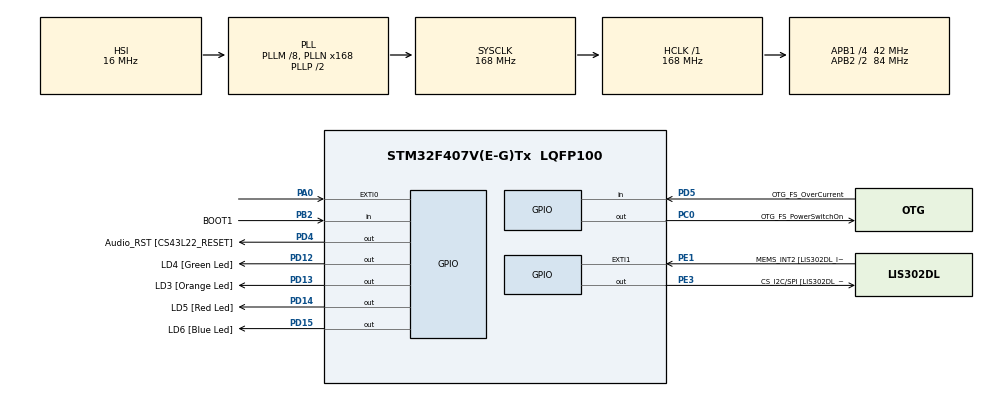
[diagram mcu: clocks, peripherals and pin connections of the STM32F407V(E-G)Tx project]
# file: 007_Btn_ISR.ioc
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Mcu.Family=STM32F4
Mcu.Name=STM32F407V(E-G)Tx
Mcu.Package=LQFP100
NVIC.EXTI0_IRQn=true\:6\:0\:true\:false\:true\:true\:true\:true
NVIC.PriorityGroup=NVIC_PRIORITYGROUP_4
NVIC.TIM6_DAC_IRQn=true\:15\:0\:false\:false\:true\:false\:true\:true
NVIC.TimeBase=TIM6_DAC_IRQn
NVIC.TimeBaseIP=TIM6
PA0-WKUP.Signal=GPXTI0
PA10.GPIO_Label=OTG_FS_ID
PA10.GPIO_Mode=GPIO_MODE_AF_PP
PA10.GPIO_PuPd=GPIO_NOPULL
PA10.GPIO_Speed=GPIO_SPEED_FREQ_LOW
PA10.Signal=USB_OTG_FS_ID
PA11.GPIO_Label=OTG_FS_DM
PA11.GPIO_Mode=GPIO_MODE_AF_PP
PA11.GPIO_PuPd=GPIO_NOPULL
PA11.GPIO_Speed=GPIO_SPEED_FREQ_LOW
PA11.Signal=USB_OTG_FS_DM
PA12.GPIO_Label=OTG_FS_DP
PA12.GPIO_Mode=GPIO_MODE_AF_PP
PA12.GPIO_PuPd=GPIO_NOPULL
PA12.GPIO_Speed=GPIO_SPEED_FREQ_LOW
PA12.Signal=USB_OTG_FS_DP
PA13.GPIO_Label=SWDIO
PA13.Signal=SYS_JTMS-SWDIO
PA14.GPIO_Label=SWCLK
PA14.Signal=SYS_JTCK-SWCLK
PA4.GPIO_Label=I2S3_WS [CS43L22_LRCK]
PA4.GPIO_Mode=GPIO_MODE_AF_PP
PA4.GPIO_PuPd=GPIO_NOPULL
PA4.GPIO_Speed=GPIO_SPEED_FREQ_LOW
PA4.Signal=I2S3_WS
PA5.GPIO_Label=SPI1_SCK [LIS302DL_SCL/SPC]
PA5.GPIO_Mode=GPIO_MODE_AF_PP
PA5.GPIO_PuPd=GPIO_NOPULL
PA5.GPIO_Speed=GPIO_SPEED_FREQ_LOW
PA5.Signal=SPI1_SCK
PA6.GPIO_Label=SPI1_MISO [LIS302DL_SDO]
PA6.GPIO_Mode=GPIO_MODE_AF_PP
PA6.GPIO_PuPd=GPIO_NOPULL
PA6.GPIO_Speed=GPIO_SPEED_FREQ_LOW
PA6.Signal=SPI1_MISO
PA7.GPIO_Label=SPI1_MOSI [LIS302DL_SDA/SDI/SDO]
PA7.GPIO_Mode=GPIO_MODE_AF_PP
PA7.GPIO_PuPd=GPIO_NOPULL
PA7.GPIO_Speed=GPIO_SPEED_FREQ_LOW
PA7.Signal=SPI1_MOSI
PA9.GPIO_Label=VBUS_FS
PA9.GPIO_Mode=GPIO_MODE_INPUT
PA9.GPIO_PuPd=GPIO_NOPULL
PA9.Signal=USB_OTG_FS_VBUS
PB10.GPIO_Label=CLK_IN [MP45DT02_CLK]
PB10.GPIO_Mode=GPIO_MODE_AF_PP
PB10.GPIO_PuPd=GPIO_NOPULL
PB10.GPIO_Speed=GPIO_SPEED_FREQ_LOW
PB10.Signal=I2S2_CK
PB2.GPIO_Label=BOOT1
PB2.GPIO_Mode=GPIO_MODE_INPUT
PB2.GPIO_PuPd=GPIO_NOPULL
PB2.Signal=GPIO_Input
PB3.GPIO_Label=SWO
PB3.Signal=SYS_JTDO-SWO
PB6.GPIO_Label=Audio_SCL [CS43L22_SCL]
PB6.GPIO_Mode=GPIO_MODE_AF_OD
PB6.GPIO_PuPd=GPIO_NOPULL
PB6.GPIO_Speed=GPIO_SPEED_FREQ_LOW
PB6.Signal=I2C1_SCL
PB9.GPIO_Label=Audio_SDA [CS43L22_SDA]
PB9.GPIO_Mode=GPIO_MODE_AF_OD
PB9.GPIO_PuPd=GPIO_NOPULL
PB9.GPIO_Speed=GPIO_SPEED_FREQ_LOW
PB9.Signal=I2C1_SDA
PC0.GPIO_Label=OTG_FS_PowerSwitchOn
PC0.GPIO_PuPd=GPIO_NOPULL
PC0.GPIO_Speed=GPIO_SPEED_FREQ_LOW
PC0.PinState=GPIO_PIN_SET
PC0.Signal=GPIO_Output
PC10.GPIO_Label=I2S3_SCK [CS43L22_SCLK]
PC10.GPIO_Mode=GPIO_MODE_AF_PP
PC10.GPIO_PuPd=GPIO_NOPULL
PC10.GPIO_Speed=GPIO_SPEED_FREQ_LOW
PC10.Signal=I2S3_CK
PC12.GPIO_Label=I2S3_SD [CS43L22_SDIN]
PC12.GPIO_Mode=GPIO_MODE_AF_PP
PC12.GPIO_PuPd=GPIO_NOPULL
PC12.GPIO_Speed=GPIO_SPEED_FREQ_LOW
PC12.Signal=I2S3_SD
PC14-OSC32_IN.GPIO_Label=PC14-OSC32_IN
PC14-OSC32_IN.Signal=RCC_OSC32_IN
PC15-OSC32_OUT.GPIO_Label=PC15-OSC32_OUT
PC15-OSC32_OUT.Signal=RCC_OSC32_OUT
PC3.GPIO_Label=PDM_OUT [MP45DT02_DOUT]
PC3.GPIO_Mode=GPIO_MODE_AF_PP
PC3.GPIO_PuPd=GPIO_NOPULL
PC3.GPIO_Speed=GPIO_SPEED_FREQ_LOW
PC3.Signal=I2S2_SD
PC7.GPIO_Label=I2S3_MCK [CS43L22_MCLK]
PC7.GPIO_Mode=GPIO_MODE_AF_PP
PC7.GPIO_PuPd=GPIO_NOPULL
PC7.GPIO_Speed=GPIO_SPEED_FREQ_LOW
PC7.Signal=I2S3_MCK
PD12.GPIO_Label=LD4 [Green Led]
PD12.GPIO_PuPd=GPIO_NOPULL
PD12.GPIO_Speed=GPIO_SPEED_FREQ_LOW
PD12.Signal=GPIO_Output
PD13.GPIO_Label=LD3 [Orange Led]
PD13.GPIO_PuPd=GPIO_NOPULL
PD13.GPIO_Speed=GPIO_SPEED_FREQ_LOW
PD13.Signal=GPIO_Output
PD14.GPIO_Label=LD5 [Red Led]
PD14.GPIO_PuPd=GPIO_NOPULL
PD14.GPIO_Speed=GPIO_SPEED_FREQ_LOW
PD14.Signal=GPIO_Output
PD15.GPIO_Label=LD6 [Blue Led]
PD15.GPIO_PuPd=GPIO_NOPULL
PD15.GPIO_Speed=GPIO_SPEED_FREQ_LOW
PD15.Signal=GPIO_Output
PD4.GPIO_Label=Audio_RST [CS43L22_RESET]
PD4.GPIO_PuPd=GPIO_NOPULL
PD4.GPIO_Speed=GPIO_SPEED_FREQ_LOW
PD4.Signal=GPIO_Output
PD5.GPIO_Label=OTG_FS_OverCurrent
PD5.GPIO_Mode=GPIO_MODE_INPUT
PD5.GPIO_PuPd=GPIO_NOPULL
PD5.Signal=GPIO_Input
PE1.GPIO_Label=MEMS_INT2 [LIS302DL_INT2]
PE1.GPIO_ModeDefaultEXTI=GPIO_MODE_EVT_RISING
PE1.GPIO_PuPd=GPIO_NOPULL
PE1.Signal=GPXTI1
PE3.GPIO_Label=CS_I2C/SPI [LIS302DL_CS_I2C/SPI]
PE3.GPIO_PuPd=GPIO_NOPULL
PE3.GPIO_Speed=GPIO_SPEED_FREQ_LOW
PE3.Signal=GPIO_Output
PH0-OSC_IN.GPIO_Label=PH0-OSC_IN
PH0-OSC_IN.Signal=RCC_OSC_IN
PH1-OSC_OUT.GPIO_Label=PH1-OSC_OUT
PH1-OSC_OUT.Signal=RCC_OSC_OUT
ProjectManager.HeapSize=0x200
ProjectManager.StackSize=0x400
ProjectManager.TargetToolchain=STM32CubeIDE
RCC.48MHZClocksFreq_Value=48000000
RCC.AHBFreq_Value=168000000
RCC.APB1CLKDivider=RCC_HCLK_DIV4
RCC.APB1Freq_Value=42000000
RCC.APB1TimFreq_Value=84000000
RCC.APB2CLKDivider=RCC_HCLK_DIV2
RCC.APB2Freq_Value=84000000
RCC.APB2TimFreq_Value=168000000
RCC.CortexFreq_Value=168000000
RCC.HCLKFreq_Value=168000000
RCC.HSE_VALUE=8000000
RCC.HSI_VALUE=16000000
RCC.LSE_VALUE=32768
RCC.PLLM=8
RCC.PLLN=168
RCC.PLLQ=7
RCC.SYSCLKFreq_VALUE=168000000
RCC.SYSCLKSource=RCC_SYSCLKSOURCE_PLLCLK
RCC.VCOOutputFreq_Value=336000000
VP_SYS_VS_tim6.Mode=TIM6
board=STM32F407G-DISC1

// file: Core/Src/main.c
/* USER CODE BEGIN Header */
/**
  ******************************************************************************
  * @file           : main.c
  * @brief          : Main program body
  ******************************************************************************
  * @attention
  *
  * Copyright (c) 2026 STMicroelectronics.
  * All rights reserved.
  *
  * This software is licensed under terms that can be found in the LICENSE file
  * in the root directory of this software component.
  * If no LICENSE file comes with this software, it is provided AS-IS.
  *
  ******************************************************************************
  */
/* USER CODE END Header */
#include "main.h"

/* USER CODE BEGIN Includes */
#include "FreeRTOS.h"
#include "task.h"
/* USER CODE END Includes */

/* USER CODE BEGIN PV */
#define DWT_CTRL    (*(volatile uint32_t*)0xE0001000)

volatile BaseType_t status_button = 0;
/* USER CODE END PV */

void SystemClock_Config(void);
static void MX_GPIO_Init(void);
/* USER CODE BEGIN PFP */
void ToggleRedLed(void* parameters);
void ToggleGreenLed(void* parameters);
void ChangePriority();

extern void SEGGER_UART_init(uint32_t);
/* USER CODE END PFP */

/* USER CODE BEGIN 0 */
TaskHandle_t Task1_Handle;
TaskHandle_t Task2_Handle;
BaseType_t status;
/* USER CODE END 0 */

int main(void)
{

  /* USER CODE BEGIN 1 */
	HAL_NVIC_SetPriorityGrouping(NVIC_PRIORITYGROUP_4);
  /* USER CODE END 1 */

  /* MCU Configuration--------------------------------------------------------*/

  /* Reset of all peripherals, Initializes the Flash interface and the Systick. */
  HAL_Init();

  /* Configure the system clock */
  SystemClock_Config();

  /* Initialize all configured peripherals */
  MX_GPIO_Init();
  /* USER CODE BEGIN 2 */
	SEGGER_UART_init(500000);

	//CYCLCNT enable
	DWT_CTRL |= ( 1 << 0);

	/*SEGGER_SYSVIEW_Conf();

	SEGGER_SYSVIEW_Start();*/

  status=xTaskCreate(ToggleRedLed,"RED",200,NULL,2,&Task1_Handle);
  	configASSERT(status==pdPASS);
  	status=xTaskCreate(ToggleGreenLed,"GREEN",200,NULL,3,&Task2_Handle);
  	configASSERT(status==pdPASS);
  	  vTaskStartScheduler();
  /* USER CODE END 2 */

  /* Infinite loop */
  while (1)
  {

  }
}

void SystemClock_Config(void)
{
  RCC_OscInitTypeDef RCC_OscInitStruct = {0};
  RCC_ClkInitTypeDef RCC_ClkInitStruct = {0};

  /** Configure the main internal regulator output voltage
  */
  __HAL_RCC_PWR_CLK_ENABLE();
  __HAL_PWR_VOLTAGESCALING_CONFIG(PWR_REGULATOR_VOLTAGE_SCALE1);

  /** Initializes the RCC Oscillators according to the specified parameters
  * in the RCC_OscInitTypeDef structure.
  */
  RCC_OscInitStruct.OscillatorType = RCC_OSCILLATORTYPE_HSI;
  RCC_OscInitStruct.HSIState = RCC_HSI_ON;
  RCC_OscInitStruct.HSICalibrationValue = RCC_HSICALIBRATION_DEFAULT;
  RCC_OscInitStruct.PLL.PLLState = RCC_PLL_ON;
  RCC_OscInitStruct.PLL.PLLSource = RCC_PLLSOURCE_HSI;
  RCC_OscInitStruct.PLL.PLLM = 8;
  RCC_OscInitStruct.PLL.PLLN = 168;
  RCC_OscInitStruct.PLL.PLLP = RCC_PLLP_DIV2;
  RCC_OscInitStruct.PLL.PLLQ = 7;
  if (HAL_RCC_OscConfig(&RCC_OscInitStruct) != HAL_OK)
  {
    Error_Handler();
  }

  /** Initializes the CPU, AHB and APB buses clocks
  */
  RCC_ClkInitStruct.ClockType = RCC_CLOCKTYPE_HCLK|RCC_CLOCKTYPE_SYSCLK
                              |RCC_CLOCKTYPE_PCLK1|RCC_CLOCKTYPE_PCLK2;
  RCC_ClkInitStruct.SYSCLKSource = RCC_SYSCLKSOURCE_PLLCLK;
  RCC_ClkInitStruct.AHBCLKDivider = RCC_SYSCLK_DIV1;
  RCC_ClkInitStruct.APB1CLKDivider = RCC_HCLK_DIV4;
  RCC_ClkInitStruct.APB2CLKDivider = RCC_HCLK_DIV2;

  if (HAL_RCC_ClockConfig(&RCC_ClkInitStruct, FLASH_LATENCY_5) != HAL_OK)
  {
    Error_Handler();
  }
}

static void MX_GPIO_Init(void)
{
  GPIO_InitTypeDef GPIO_InitStruct = {0};

  /* GPIO Ports Clock Enable */
  __HAL_RCC_GPIOE_CLK_ENABLE();
  __HAL_RCC_GPIOC_CLK_ENABLE();
  __HAL_RCC_GPIOH_CLK_ENABLE();
  __HAL_RCC_GPIOA_CLK_ENABLE();
  __HAL_RCC_GPIOB_CLK_ENABLE();
  __HAL_RCC_GPIOD_CLK_ENABLE();

  /*Configure GPIO pin Output Level */
  HAL_GPIO_WritePin(CS_I2C_SPI_GPIO_Port, CS_I2C_SPI_Pin, GPIO_PIN_RESET);

  /*Configure GPIO pin Output Level */
  HAL_GPIO_WritePin(OTG_FS_PowerSwitchOn_GPIO_Port, OTG_FS_PowerSwitchOn_Pin, GPIO_PIN_SET);

  /*Configure GPIO pin Output Level */
  HAL_GPIO_WritePin(GPIOD, LD4_Pin|LD3_Pin|LD5_Pin|LD6_Pin
                          |Audio_RST_Pin, GPIO_PIN_RESET);

  /*Configure GPIO pin : CS_I2C_SPI_Pin */
  GPIO_InitStruct.Pin = CS_I2C_SPI_Pin;
  GPIO_InitStruct.Mode = GPIO_MODE_OUTPUT_PP;
  GPIO_InitStruct.Pull = GPIO_NOPULL;
  GPIO_InitStruct.Speed = GPIO_SPEED_FREQ_LOW;
  HAL_GPIO_Init(CS_I2C_SPI_GPIO_Port, &GPIO_InitStruct);

  /*Configure GPIO pin : OTG_FS_PowerSwitchOn_Pin */
  GPIO_InitStruct.Pin = OTG_FS_PowerSwitchOn_Pin;
  GPIO_InitStruct.Mode = GPIO_MODE_OUTPUT_PP;
  GPIO_InitStruct.Pull = GPIO_NOPULL;
  GPIO_InitStruct.Speed = GPIO_SPEED_FREQ_LOW;
  HAL_GPIO_Init(OTG_FS_PowerSwitchOn_GPIO_Port, &GPIO_InitStruct);

  /*Configure GPIO pin : PDM_OUT_Pin */
  GPIO_InitStruct.Pin = PDM_OUT_Pin;
  GPIO_InitStruct.Mode = GPIO_MODE_AF_PP;
  GPIO_InitStruct.Pull = GPIO_NOPULL;
  GPIO_InitStruct.Speed = GPIO_SPEED_FREQ_LOW;
  GPIO_InitStruct.Alternate = GPIO_AF5_SPI2;
  HAL_GPIO_Init(PDM_OUT_GPIO_Port, &GPIO_InitStruct);

  /*Configure GPIO pin : PA0 */
  GPIO_InitStruct.Pin = GPIO_PIN_0;
  GPIO_InitStruct.Mode = GPIO_MODE_IT_RISING;
  GPIO_InitStruct.Pull = GPIO_NOPULL;
  HAL_GPIO_Init(GPIOA, &GPIO_InitStruct);

  /*Configure GPIO pin : I2S3_WS_Pin */
  GPIO_InitStruct.Pin = I2S3_WS_Pin;
  GPIO_InitStruct.Mode = GPIO_MODE_AF_PP;
  GPIO_InitStruct.Pull = GPIO_NOPULL;
  GPIO_InitStruct.Speed = GPIO_SPEED_FREQ_LOW;
  GPIO_InitStruct.Alternate = GPIO_AF6_SPI3;
  HAL_GPIO_Init(I2S3_WS_GPIO_Port, &GPIO_InitStruct);

  /*Configure GPIO pins : SPI1_SCK_Pin SPI1_MISO_Pin SPI1_MOSI_Pin */
  GPIO_InitStruct.Pin = SPI1_SCK_Pin|SPI1_MISO_Pin|SPI1_MOSI_Pin;
  GPIO_InitStruct.Mode = GPIO_MODE_AF_PP;
  GPIO_InitStruct.Pull = GPIO_NOPULL;
  GPIO_InitStruct.Speed = GPIO_SPEED_FREQ_LOW;
  GPIO_InitStruct.Alternate = GPIO_AF5_SPI1;
  HAL_GPIO_Init(GPIOA, &GPIO_InitStruct);

  /*Configure GPIO pin : BOOT1_Pin */
  GPIO_InitStruct.Pin = BOOT1_Pin;
  GPIO_InitStruct.Mode = GPIO_MODE_INPUT;
  GPIO_InitStruct.Pull = GPIO_NOPULL;
  HAL_GPIO_Init(BOOT1_GPIO_Port, &GPIO_InitStruct);

  /*Configure GPIO pin : CLK_IN_Pin */
  GPIO_InitStruct.Pin = CLK_IN_Pin;
  GPIO_InitStruct.Mode = GPIO_MODE_AF_PP;
  GPIO_InitStruct.Pull = GPIO_NOPULL;
  GPIO_InitStruct.Speed = GPIO_SPEED_FREQ_LOW;
  GPIO_InitStruct.Alternate = GPIO_AF5_SPI2;
  HAL_GPIO_Init(CLK_IN_GPIO_Port, &GPIO_InitStruct);

  /*Configure GPIO pins : LD4_Pin LD3_Pin LD5_Pin LD6_Pin
                           Audio_RST_Pin */
  GPIO_InitStruct.Pin = LD4_Pin|LD3_Pin|LD5_Pin|LD6_Pin
                          |Audio_RST_Pin;
  GPIO_InitStruct.Mode = GPIO_MODE_OUTPUT_PP;
  GPIO_InitStruct.Pull = GPIO_NOPULL;
  GPIO_InitStruct.Speed = GPIO_SPEED_FREQ_LOW;
  HAL_GPIO_Init(GPIOD, &GPIO_InitStruct);

  /*Configure GPIO pins : I2S3_MCK_Pin I2S3_SCK_Pin I2S3_SD_Pin */
  GPIO_InitStruct.Pin = I2S3_MCK_Pin|I2S3_SCK_Pin|I2S3_SD_Pin;
  GPIO_InitStruct.Mode = GPIO_MODE_AF_PP;
  GPIO_InitStruct.Pull = GPIO_NOPULL;
  GPIO_InitStruct.Speed = GPIO_SPEED_FREQ_LOW;
  GPIO_InitStruct.Alternate = GPIO_AF6_SPI3;
  HAL_GPIO_Init(GPIOC, &GPIO_InitStruct);

  /*Configure GPIO pin : VBUS_FS_Pin */
  GPIO_InitStruct.Pin = VBUS_FS_Pin;
  GPIO_InitStruct.Mode = GPIO_MODE_INPUT;
  GPIO_InitStruct.Pull = GPIO_NOPULL;
  HAL_GPIO_Init(VBUS_FS_GPIO_Port, &GPIO_InitStruct);

  /*Configure GPIO pins : OTG_FS_ID_Pin OTG_FS_DM_Pin OTG_FS_DP_Pin */
  GPIO_InitStruct.Pin = OTG_FS_ID_Pin|OTG_FS_DM_Pin|OTG_FS_DP_Pin;
  GPIO_InitStruct.Mode = GPIO_MODE_AF_PP;
  GPIO_InitStruct.Pull = GPIO_NOPULL;
  GPIO_InitStruct.Speed = GPIO_SPEED_FREQ_LOW;
  GPIO_InitStruct.Alternate = GPIO_AF10_OTG_FS;
  HAL_GPIO_Init(GPIOA, &GPIO_InitStruct);

  /*Configure GPIO pin : OTG_FS_OverCurrent_Pin */
  GPIO_InitStruct.Pin = OTG_FS_OverCurrent_Pin;
  GPIO_InitStruct.Mode = GPIO_MODE_INPUT;
  GPIO_InitStruct.Pull = GPIO_NOPULL;
  HAL_GPIO_Init(OTG_FS_OverCurrent_GPIO_Port, &GPIO_InitStruct);

  /*Configure GPIO pins : Audio_SCL_Pin Audio_SDA_Pin */
  GPIO_InitStruct.Pin = Audio_SCL_Pin|Audio_SDA_Pin;
  GPIO_InitStruct.Mode = GPIO_MODE_AF_OD;
  GPIO_InitStruct.Pull = GPIO_NOPULL;
  GPIO_InitStruct.Speed = GPIO_SPEED_FREQ_LOW;
  GPIO_InitStruct.Alternate = GPIO_AF4_I2C1;
  HAL_GPIO_Init(GPIOB, &GPIO_InitStruct);

  /*Configure GPIO pin : MEMS_INT2_Pin */
  GPIO_InitStruct.Pin = MEMS_INT2_Pin;
  GPIO_InitStruct.Mode = GPIO_MODE_EVT_RISING;
  GPIO_InitStruct.Pull = GPIO_NOPULL;
  HAL_GPIO_Init(MEMS_INT2_GPIO_Port, &GPIO_InitStruct);

  /* EXTI interrupt init*/
  HAL_NVIC_SetPriority(EXTI0_IRQn, 6, 0);
  HAL_NVIC_EnableIRQ(EXTI0_IRQn);

}

/* USER CODE BEGIN 4 */
void ToggleRedLed(void* parameters)
{
	while(1)
	{
		 HAL_GPIO_TogglePin(GPIOD, LED_RED_PIN);
		//vTaskDelay(pdMS_TO_TICKS(100));
		HAL_Delay(100);
		ChangePriority();
	}
}
void ToggleGreenLed(void* parameters)
{
	while(1)
	{
		HAL_GPIO_TogglePin(GPIOD, LED_GREEN_PIN);
		//vTaskDelay(pdMS_TO_TICKS(1000));
		HAL_Delay(1000);
		ChangePriority();
	}
}
void ChangePriority()
{
	UBaseType_t p1,p2;
	xTaskHandle t1,t2,curr;
	BaseType_t switch_priority = 0;

	portENTER_CRITICAL();
	if(status_button){
		status_button = 0;
		switch_priority = 1;
	}
	portEXIT_CRITICAL();

	if(switch_priority){
		t1 = xTaskGetHandle("GREEN");
		t2 = xTaskGetHandle("RED");

		p1 = uxTaskPriorityGet(t1);
		p2 = uxTaskPriorityGet(t2);

		curr = xTaskGetCurrentTaskHandle();

		if(curr == t1){
			vTaskPrioritySet(t1,p2);
			vTaskPrioritySet(t2,p1);
		}else{
			vTaskPrioritySet(t2,p1);
			vTaskPrioritySet(t1,p2);
		}
	}
}
void HAL_GPIO_EXTI_Callback(uint16_t GPIO_Pin)
{
	if(GPIO_Pin==GPIO_PIN_0)
	{
		traceISR_ENTER();
		status_button = 1;
		traceISR_EXIT();
	}
}
/* USER CODE END 4 */

void HAL_TIM_PeriodElapsedCallback(TIM_HandleTypeDef *htim)
{
  if (htim->Instance == TIM6)
  {
    HAL_IncTick();
  }
}

void Error_Handler(void)
{
  __disable_irq();
  while (1)
  {
  }
}
